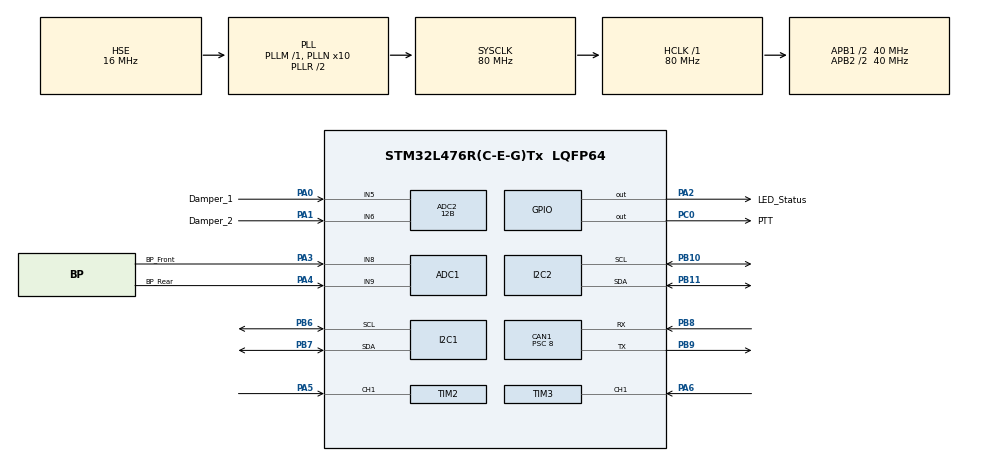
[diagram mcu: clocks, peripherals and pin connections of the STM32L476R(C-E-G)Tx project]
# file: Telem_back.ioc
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ADC1.Channel-2\#ChannelRegularConversion=ADC_CHANNEL_9
ADC1.Channel-3\#ChannelRegularConversion=ADC_CHANNEL_8
ADC1.ClockPrescaler=ADC_CLOCK_ASYNC_DIV2
ADC1.ContinuousConvMode=ENABLE
ADC1.NbrOfConversion=2
ADC1.NbrOfConversionFlag=1
ADC1.OffsetNumber-2\#ChannelRegularConversion=ADC_OFFSET_NONE
ADC1.OffsetNumber-3\#ChannelRegularConversion=ADC_OFFSET_NONE
ADC1.Rank-2\#ChannelRegularConversion=1
ADC1.Rank-3\#ChannelRegularConversion=2
ADC1.SamplingTime-2\#ChannelRegularConversion=ADC_SAMPLETIME_640CYCLES_5
ADC1.SamplingTime-3\#ChannelRegularConversion=ADC_SAMPLETIME_640CYCLES_5
ADC1.master=1
ADC2.Channel-0\#ChannelRegularConversion=ADC_CHANNEL_5
ADC2.Channel-1\#ChannelRegularConversion=ADC_CHANNEL_6
ADC2.ClockPrescaler=ADC_CLOCK_ASYNC_DIV2
ADC2.ContinuousConvMode=ENABLE
ADC2.DiscontinuousConvMode=DISABLE
ADC2.EOCSelection=ADC_EOC_SINGLE_CONV
ADC2.EnableInjectedConversion=DISABLE
ADC2.NbrOfConversion=2
ADC2.NbrOfConversionFlag=1
ADC2.Offset-1\#ChannelRegularConversion=1
ADC2.OffsetNumber-0\#ChannelRegularConversion=ADC_OFFSET_NONE
ADC2.OffsetNumber-1\#ChannelRegularConversion=ADC_OFFSET_NONE
ADC2.Overrun=ADC_OVR_DATA_PRESERVED
ADC2.OversamplingMode=DISABLE
ADC2.Rank-0\#ChannelRegularConversion=1
ADC2.Rank-1\#ChannelRegularConversion=2
ADC2.Resolution=ADC_RESOLUTION_12B
ADC2.SamplingTime-0\#ChannelRegularConversion=ADC_SAMPLETIME_247CYCLES_5
ADC2.SamplingTime-1\#ChannelRegularConversion=ADC_SAMPLETIME_247CYCLES_5
CAN1.BS1=CAN_BS1_3TQ
CAN1.CalculateBaudRate=1000000
CAN1.CalculateTimeBit=1000
CAN1.CalculateTimeQuantum=200.0
CAN1.Prescaler=8
I2C1.Timing=0x00909BEB
I2C2.Timing=0x00909BEB
Mcu.Family=STM32L4
Mcu.Name=STM32L476R(C-E-G)Tx
Mcu.Package=LQFP64
NVIC.CAN1_RX0_IRQn=true\:0\:0\:false\:false\:true\:true\:true\:true
NVIC.I2C1_ER_IRQn=true\:0\:0\:false\:false\:true\:true\:true\:true
NVIC.I2C1_EV_IRQn=true\:0\:0\:false\:false\:true\:true\:true\:true
NVIC.I2C2_ER_IRQn=true\:0\:0\:false\:false\:true\:true\:true\:true
NVIC.I2C2_EV_IRQn=true\:0\:0\:false\:false\:true\:true\:true\:true
NVIC.PriorityGroup=NVIC_PRIORITYGROUP_4
NVIC.TIM2_IRQn=true\:0\:0\:false\:false\:true\:true\:true\:true
NVIC.TIM3_IRQn=true\:0\:0\:false\:false\:true\:true\:true\:true
PA0.GPIO_Label=Damper_1
PA0.GPIO_PuPd=GPIO_NOPULL
PA0.Signal=ADCx_IN5
PA1.GPIO_Label=Damper_2
PA1.Signal=ADCx_IN6
PA2.GPIO_Label=LED_Status
PA2.Signal=GPIO_Output
PA3.GPIO_Label=BP_Front
PA3.Signal=ADCx_IN8
PA4.GPIO_Label=BP_Rear
PA4.Signal=ADCx_IN9
PA5.Signal=S_TIM2_CH1
PA6.Signal=S_TIM3_CH1
PB10.Mode=I2C
PB10.Signal=I2C2_SCL
PB11.Mode=I2C
PB11.Signal=I2C2_SDA
PB6.Mode=I2C
PB6.Signal=I2C1_SCL
PB7.Mode=I2C
PB7.Signal=I2C1_SDA
PB8.Mode=CAN_Activate
PB8.Signal=CAN1_RX
PB9.Mode=CAN_Activate
PB9.Signal=CAN1_TX
PC0.GPIO_Label=PTT
PC0.Signal=GPIO_Output
PH0-OSC_IN\ (PH0).Mode=HSE-External-Oscillator
PH0-OSC_IN\ (PH0).Signal=RCC_OSC_IN
PH1-OSC_OUT\ (PH1).Mode=HSE-External-Oscillator
PH1-OSC_OUT\ (PH1).Signal=RCC_OSC_OUT
ProjectManager.HeapSize=0x200
ProjectManager.StackSize=0x400
ProjectManager.TargetToolchain=STM32CubeIDE
RCC.ADCFreq_Value=64000000
RCC.AHBFreq_Value=80000000
RCC.APB1CLKDivider=RCC_HCLK_DIV2
RCC.APB1Freq_Value=40000000
RCC.APB1TimFreq_Value=80000000
RCC.APB2CLKDivider=RCC_HCLK_DIV2
RCC.APB2Freq_Value=40000000
RCC.APB2TimFreq_Value=80000000
RCC.CortexFreq_Value=80000000
RCC.HCLKFreq_Value=80000000
RCC.HSE_VALUE=16000000
RCC.HSI_VALUE=16000000
RCC.LSE_VALUE=32768
RCC.MSI_VALUE=4000000
RCC.PLLN=10
RCC.PLLSourceVirtual=RCC_PLLSOURCE_HSE
RCC.SYSCLKFreq_VALUE=80000000
RCC.SYSCLKSource=RCC_SYSCLKSOURCE_PLLCLK
RCC.USBFreq_Value=64000000
RCC.VCOOutputFreq_Value=160000000
SH.ADCx_IN5.0=ADC2_IN5,IN5-Single-Ended
SH.ADCx_IN6.0=ADC2_IN6,IN6-Single-Ended
SH.ADCx_IN8.0=ADC1_IN8,IN8-Single-Ended
SH.ADCx_IN9.0=ADC1_IN9,IN9-Single-Ended
SH.S_TIM2_CH1.0=TIM2_CH1,TriggerSource_TI1ED
SH.S_TIM2_CH1.1=TIM2_CH1,Input_Capture1_from_TI1
SH.S_TIM3_CH1.0=TIM3_CH1,TriggerSource_TI1ED
SH.S_TIM3_CH1.1=TIM3_CH1,Input_Capture1_from_TI1
TIM2.Channel-Input_Capture1_from_TI1=TIM_CHANNEL_1
TIM2.Period=25000-1
TIM2.Prescaler=800-1
TIM3.Channel-Input_Capture1_from_TI1=TIM_CHANNEL_1
TIM3.Period=25000-1
TIM3.Prescaler=800-1
VP_TIM2_VS_ClockSourceINT.Mode=Internal
VP_TIM2_VS_ControllerModeReset.Mode=Reset Mode
VP_TIM3_VS_ClockSourceINT.Mode=Internal
VP_TIM3_VS_ControllerModeReset.Mode=Reset Mode
board=custom

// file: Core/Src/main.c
/* USER CODE BEGIN Header */
/**
  ******************************************************************************
  * @file           : main.c
  * @brief          : Main program body
  ******************************************************************************
  * @attention
  *
  * Copyright (c) 2022 STMicroelectronics.
  * All rights reserved.
  *
  * This software is licensed under terms that can be found in the LICENSE file
  * in the root directory of this software component.
  * If no LICENSE file comes with this software, it is provided AS-IS.
  *
  ******************************************************************************
  */
/* USER CODE END Header */
#include "main.h"
#include "adc.h"
#include "can.h"
#include "i2c.h"
#include "tim.h"
#include "gpio.h"

/* USER CODE BEGIN Includes */
#include <abs.h>
#include <amorki.h>
#include <break_pressure.h>
#include <can_handler.h>
#include "PTT_handler.h"
/* USER CODE END Includes */

/* USER CODE BEGIN PV */

// BREAK PRESSURE
float pressure[2]; //Pressure [bar]
uint16_t break_press[2]; //Analog value

// VSS
float wheel_speed[2];

//AMORKI
float displacement[2]; //move [mm]
uint16_t damper[2];	//Analog value

// PTT
int16_t transmission_check=3000; // is button still pressed

/* USER CODE END PV */

void SystemClock_Config(void);
void PeriphCommonClock_Config(void);

int main(void)
{

  /* MCU Configuration--------------------------------------------------------*/

  /* Reset of all peripherals, Initializes the Flash interface and the Systick. */
  HAL_Init();

  /* Configure the system clock */
  SystemClock_Config();

/* Configure the peripherals common clocks */
  PeriphCommonClock_Config();

  /* Initialize all configured peripherals */
  MX_GPIO_Init();
  MX_CAN1_Init();
  MX_ADC1_Init();
  MX_ADC2_Init();
  MX_I2C1_Init();
  MX_I2C2_Init();
  MX_TIM3_Init();
  MX_TIM2_Init();
  /* USER CODE BEGIN 2 */

  absInit(&absRRSensor, 0x01, &htim2, TIM_CHANNEL_1);
  absInit(&absLRSensor, 0x02, &htim3, TIM_CHANNEL_1);

  BPInit(&BP_Front_Sensor,0x01, &hadc1, ADC_CHANNEL_8);
  BPInit(&BP_Rear_Sensor,0x01,  &hadc1, ADC_CHANNEL_9);

  DampInit(&DampLRSensor, 0x01, &hadc2, ADC_CHANNEL_5);
  DampInit(&DampRRSensor, 0x01, &hadc2, ADC_CHANNEL_6);

  HAL_CAN_Start(&hcan1);
  CAN_Init(&hcan1);
  /* USER CODE END 2 */

  /* Infinite loop */
  while (1)
   {

    /* USER CODE BEGIN 3 */

 	  //LED STATUS
 	HAL_GPIO_WritePin(LED_Status_GPIO_Port, LED_Status_Pin, 1);

	/*
 	  //BREAK PREASSURE
 	BP_GetData(&hadc1,break_press);
 	for(int i=0;i<2;i++)
 	{
 	pressure[i]=BPCalculate(break_press[i]);
 	}

 	//AMORKI

 	Amorki_GetData(&hadc2, damper);
 	for(int i=0;i<2;i++)
 	{
 		displacement[i]=AmorkiCalculate(damper[i]);
 	}
 	*/

 	  //ABS
 	/*
 	if(flagL==0x01)
 	{
 		wheel_speed[0]=absCalculate(absLRSensor.data);
 		flagL=0x00;
 	}
 	if(flagR==0x01)
 	{
 		wheel_speed[1]=absCalculate(absRRSensor.data);
 		flagR=0x00;
 	}
 	*/
 	 //BP
 	BP_GetData(&BP_Front_Sensor);
 	BP_GetData(&BP_Rear_Sensor);

 	 //DAMPER
 	Amorki_GetData(&DampLRSensor);
	Amorki_GetData(&DampRRSensor);

 	//PTT
 	if(PTT_status)				//ACTIVE
 	{
 		HAL_GPIO_WritePin(PTT_GPIO_Port, PTT_Pin, 1);
 		//transmission_check=3000;
 	}
 	else						//DEACTIVE
 		HAL_GPIO_WritePin(PTT_GPIO_Port, PTT_Pin, 0);

 	//SENDING OVER CAN
 	/*
 	pressure[0]=1000;
 	pressure[1]=32.2;
 	displacement[0]=23.2;
 	displacement[1]=30;
 	wheel_speed[0]=2.56;
 	*/

 	BP_F_over_can(&BP_Front_Sensor);
 	HAL_Delay(1);
	BP_R_over_can(&BP_Rear_Sensor);
 	HAL_Delay(1);

 	Damper_LR_over_can(&DampLRSensor);
 	HAL_Delay(1);
 	Damper_RR_over_can(&DampRRSensor);
 	HAL_Delay(1);

 	VSS_LR_over_can(&absLRSensor);
 	HAL_Delay(1);
 	VSS_RR_over_can(&absRRSensor);
 /*

 	if(transmission_check<0)	//RESET
 	{
 		PTT_status=0;
 	}
 */

   }
  /* USER CODE END 3 */
}

void SystemClock_Config(void)
{
  RCC_OscInitTypeDef RCC_OscInitStruct = {0};
  RCC_ClkInitTypeDef RCC_ClkInitStruct = {0};

  /** Configure the main internal regulator output voltage
  */
  if (HAL_PWREx_ControlVoltageScaling(PWR_REGULATOR_VOLTAGE_SCALE1) != HAL_OK)
  {
    Error_Handler();
  }

  /** Initializes the RCC Oscillators according to the specified parameters
  * in the RCC_OscInitTypeDef structure.
  */
  RCC_OscInitStruct.OscillatorType = RCC_OSCILLATORTYPE_HSE;
  RCC_OscInitStruct.HSEState = RCC_HSE_ON;
  RCC_OscInitStruct.PLL.PLLState = RCC_PLL_ON;
  RCC_OscInitStruct.PLL.PLLSource = RCC_PLLSOURCE_HSE;
  RCC_OscInitStruct.PLL.PLLM = 1;
  RCC_OscInitStruct.PLL.PLLN = 10;
  RCC_OscInitStruct.PLL.PLLP = RCC_PLLP_DIV7;
  RCC_OscInitStruct.PLL.PLLQ = RCC_PLLQ_DIV2;
  RCC_OscInitStruct.PLL.PLLR = RCC_PLLR_DIV2;
  if (HAL_RCC_OscConfig(&RCC_OscInitStruct) != HAL_OK)
  {
    Error_Handler();
  }

  /** Initializes the CPU, AHB and APB buses clocks
  */
  RCC_ClkInitStruct.ClockType = RCC_CLOCKTYPE_HCLK|RCC_CLOCKTYPE_SYSCLK
                              |RCC_CLOCKTYPE_PCLK1|RCC_CLOCKTYPE_PCLK2;
  RCC_ClkInitStruct.SYSCLKSource = RCC_SYSCLKSOURCE_PLLCLK;
  RCC_ClkInitStruct.AHBCLKDivider = RCC_SYSCLK_DIV1;
  RCC_ClkInitStruct.APB1CLKDivider = RCC_HCLK_DIV2;
  RCC_ClkInitStruct.APB2CLKDivider = RCC_HCLK_DIV2;

  if (HAL_RCC_ClockConfig(&RCC_ClkInitStruct, FLASH_LATENCY_4) != HAL_OK)
  {
    Error_Handler();
  }
}

void PeriphCommonClock_Config(void)
{
  RCC_PeriphCLKInitTypeDef PeriphClkInit = {0};

  /** Initializes the peripherals clock
  */
  PeriphClkInit.PeriphClockSelection = RCC_PERIPHCLK_ADC;
  PeriphClkInit.AdcClockSelection = RCC_ADCCLKSOURCE_PLLSAI1;
  PeriphClkInit.PLLSAI1.PLLSAI1Source = RCC_PLLSOURCE_HSE;
  PeriphClkInit.PLLSAI1.PLLSAI1M = 1;
  PeriphClkInit.PLLSAI1.PLLSAI1N = 8;
  PeriphClkInit.PLLSAI1.PLLSAI1P = RCC_PLLP_DIV7;
  PeriphClkInit.PLLSAI1.PLLSAI1Q = RCC_PLLQ_DIV2;
  PeriphClkInit.PLLSAI1.PLLSAI1R = RCC_PLLR_DIV2;
  PeriphClkInit.PLLSAI1.PLLSAI1ClockOut = RCC_PLLSAI1_ADC1CLK;
  if (HAL_RCCEx_PeriphCLKConfig(&PeriphClkInit) != HAL_OK)
  {
    Error_Handler();
  }
}

void Error_Handler(void)
{
  __disable_irq();
  while (1)
  {
  }
}
